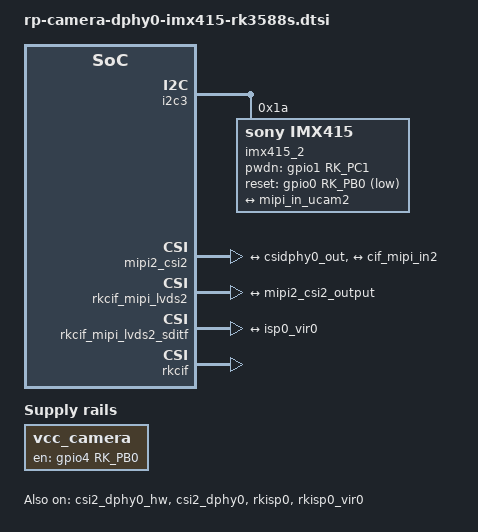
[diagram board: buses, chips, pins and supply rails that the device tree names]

#ifndef RP_CAMERA_XS9922B
/{
	vcc_camera: vcc-camera-regulator {
                compatible = "regulator-fixed";
                gpio = <&gpio4 RK_PB0 GPIO_ACTIVE_HIGH>;
                pinctrl-names = "default";
                pinctrl-0 = <&camera_pwr>;
                regulator-name = "vcc_camera";
                enable-active-high;
                regulator-always-on;
                regulator-boot-on;
	};
};

	&pinctrl {
                camera_pwr: camera-pwr {
                        rockchip,pins =
                                /* camera power en */
                                <4 RK_PB0 3 &pcfg_pull_down>;
                };
        };
#endif

&i2c3 {
	status = "okay";
	pinctrl-names = "default";
	pinctrl-0 = <&i2c3m1_xfer>;

  
	imx415_2: imx415_2@1a {
		compatible = "sony,imx415";
		status = "okay";
		reg = <0x1a>;
		clocks = <&cru CLK_CIFOUT_OUT>;
		clock-names = "xvclk";
		power-domains = <&power RK3588_PD_VI>;
		pinctrl-names = "default";
		pinctrl-0 = <&cif_clk>;
		rockchip,grf = <&sys_grf>;
		pwdn-gpios = <&gpio1 RK_PC1 GPIO_ACTIVE_HIGH>;
		reset-gpios = <&gpio0 RK_PB0 GPIO_ACTIVE_LOW>;
		rockchip,camera-module-index = <0>;
		rockchip,camera-module-facing = "BACK";
		rockchip,camera-module-name = "CMK-OT2022-PX1";
		rockchip,camera-module-lens-name = "IR0147-50IRC-8M-F20";
		port {
			imx415_out2: endpoint {
				remote-endpoint = <&mipi_in_ucam2>;
				data-lanes = <1 2 3 4>;
			};
		};
	};
};

&csi2_dphy0_hw {
	status = "okay";
};

&csi2_dphy0 {
	status = "okay";
	ports {
		#address-cells = <1>;
		#size-cells = <0>;
		port@0 {
			reg = <0>;
			#address-cells = <1>;
			#size-cells = <0>;
			mipi_in_ucam2: endpoint@1 {
				reg = <1>;
				remote-endpoint = <&imx415_out2>;
				data-lanes = <1 2 3 4>;
			};
		};
		port@1 {
			reg = <1>;
			#address-cells = <1>;
			#size-cells = <0>;
			csidphy0_out: endpoint@0 {
				reg = <0>;
				remote-endpoint = <&mipi2_csi2_input>;
			};
		};
	};
};

&mipi2_csi2 {
	status = "okay";
	ports {
		#address-cells = <1>;
		#size-cells = <0>;
		port@0 {
			reg = <0>;
			#address-cells = <1>;
			#size-cells = <0>;
			mipi2_csi2_input: endpoint@1 {
				reg = <1>;
				remote-endpoint = <&csidphy0_out>;
			};
		};
		port@1 {
			reg = <1>;
			#address-cells = <1>;
			#size-cells = <0>;
			mipi2_csi2_output: endpoint@0 {
				reg = <0>;
				remote-endpoint = <&cif_mipi_in2>;
			};
		};
	};
};

&rkcif_mipi_lvds2 {
	status = "okay";

	port {
		cif_mipi_in2: endpoint {
			remote-endpoint = <&mipi2_csi2_output>;
		};
	};
};

&rkcif_mipi_lvds2_sditf {
	status = "okay";

	port {
		mipi_lvds2_sditf: endpoint {
			remote-endpoint = <&isp0_vir0>;
		};
	};
};

&rkcif {
        status = "okay";
};

&rkcif_mmu {
	status = "okay";
};

&rkisp0 {
	status = "okay";
};

&isp0_mmu {
	status = "okay";
};

&rkisp0_vir0 {
	status = "okay";

	port {
		#address-cells = <1>;
		#size-cells = <0>;

		isp0_vir0: endpoint@0 {
			reg = <0>;
			remote-endpoint = <&mipi_lvds2_sditf>;
		};
	};
};

